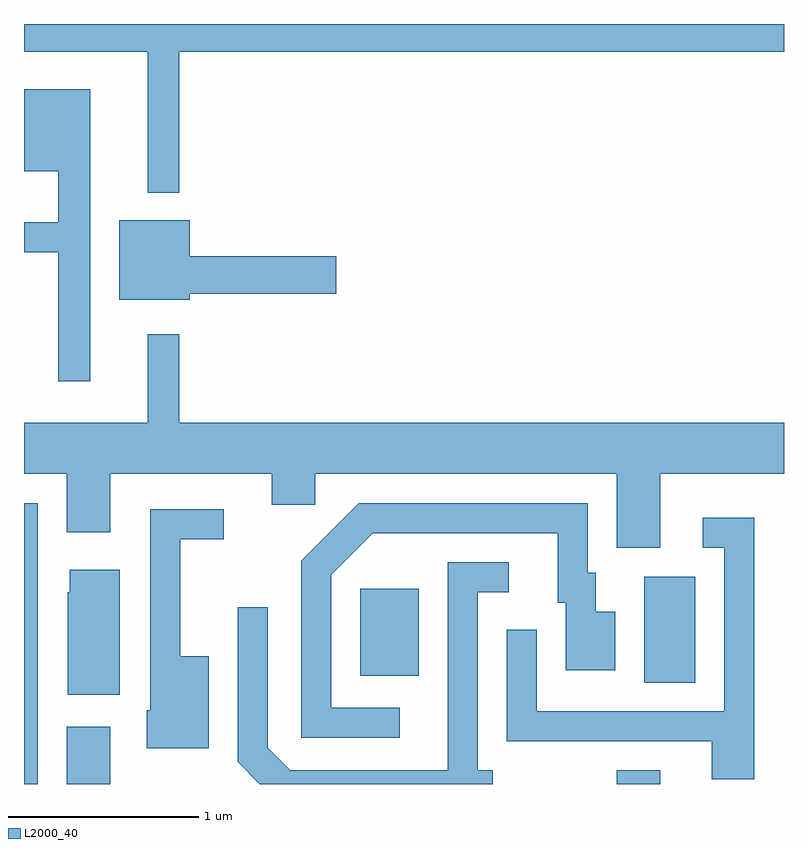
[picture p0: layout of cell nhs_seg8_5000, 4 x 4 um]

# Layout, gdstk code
import gdstk
lib = gdstk.Library(unit=1e-6, precision=1e-09)
def R(c, l, rs):  # rectangles x0, y0, x1, y1
    for r in rs: c.add(gdstk.rectangle(r[:2], r[2:], *l))
def P(c, l, *ps):  # polygons
    for p in ps: c.add(gdstk.Polygon(p, *l))
L2000_40 = (2000, 40)

nhs_seg8_5000 = lib.new_cell('nhs_seg8_5000')
R(nhs_seg8_5000, L2000_40, [(335.611,1830.342,335.684,1831.819), (335.836,1830.342,336.064,1830.644), (338.731,1830.342,338.959,1830.414), (338.876,1830.876,339.144,1831.434), (337.381,1830.911,337.689,1831.369)])
P(nhs_seg8_5000, L2000_40, [(336.429,1834.196),(339.611,1834.196),(339.611,1834.342),(335.611,1834.342),(335.611,1834.196),(336.261,1834.196),(336.261,1833.453),(336.429,1833.453)],
  [(335.959,1833.999),(335.611,1833.999),(335.611,1833.566),(335.791,1833.566),(335.791,1833.299),(335.611,1833.299),(335.611,1833.141),(335.791,1833.141),(335.791,1832.463),(335.959,1832.463)],
  [(336.484,1832.921),(337.254,1832.921),(337.254,1833.119),(336.484,1833.119),(336.484,1833.309),(336.111,1833.309),(336.111,1832.891),(336.484,1832.891)],
  [(338.959,1831.976),(339.611,1831.976),(339.611,1832.244),(336.429,1832.244),(336.429,1832.708),(336.261,1832.708),(336.261,1832.244),(335.611,1832.244),(335.611,1831.976),(335.836,1831.976),(335.836,1831.666),(336.064,1831.666),(336.064,1831.976),(336.916,1831.976),(336.916,1831.811),(337.144,1831.811),(337.144,1831.976),(338.731,1831.976),(338.731,1831.586),(338.959,1831.586)],
  [(337.588,1830.744),(337.229,1830.744),(337.229,1831.444),(337.447,1831.661),(338.421,1831.661),(338.421,1831.296),(338.461,1831.296),(338.461,1830.941),(338.724,1830.941),(338.724,1831.249),(338.619,1831.249),(338.619,1831.454),(338.579,1831.454),(338.579,1831.819),(337.374,1831.819),(337.071,1831.517),(337.071,1830.586),(337.588,1830.586)],
  [(336.584,1831.014),(336.434,1831.014),(336.434,1831.631),(336.663,1831.631),(336.663,1831.789),(336.276,1831.789),(336.276,1830.729),(336.256,1830.729),(336.256,1830.531),(336.584,1830.531)],
  [(339.454,1831.744),(339.183,1831.744),(339.183,1831.586),(339.296,1831.586),(339.296,1830.724),(338.309,1830.724),(338.309,1831.153),(338.151,1831.153),(338.151,1830.566),(339.231,1830.566),(339.231,1830.366),(339.454,1830.366)],
  [(338.078,1830.414),(337.999,1830.414),(337.999,1831.351),(338.163,1831.351),(338.163,1831.509),(337.841,1831.509),(337.841,1830.414),(337.012,1830.414),(336.894,1830.532),(336.894,1831.273),(336.736,1831.273),(336.736,1830.459),(336.853,1830.342),(338.078,1830.342)],
  [(336.114,1831.469),(335.851,1831.469),(335.851,1831.35),(335.841,1831.35),(335.841,1830.811),(336.114,1830.811)])

lib.write_gds('nhs_seg8_5000.gds')
